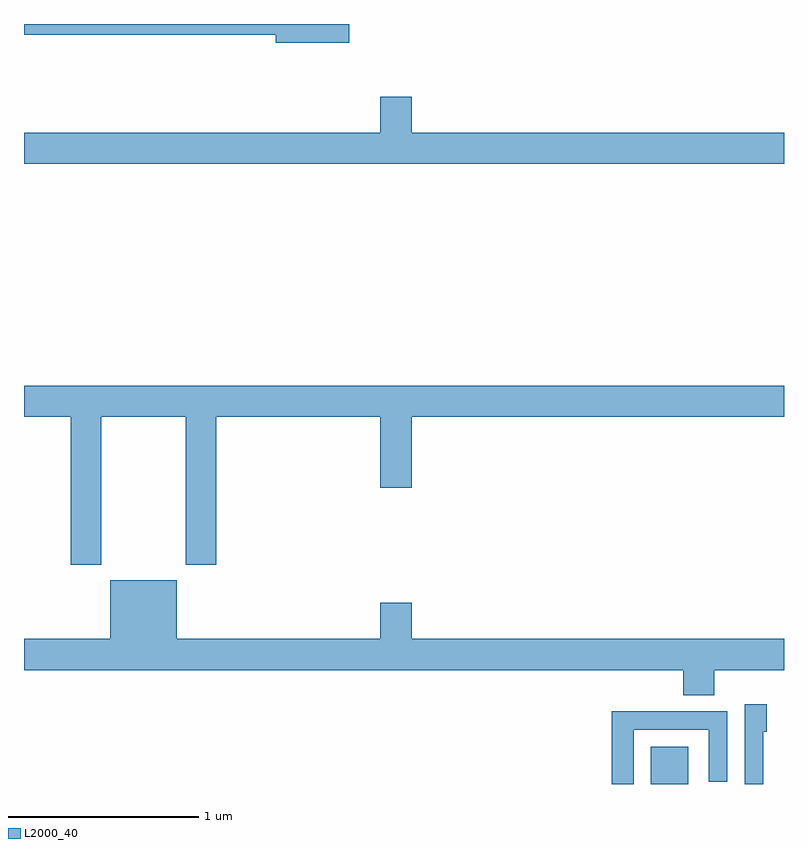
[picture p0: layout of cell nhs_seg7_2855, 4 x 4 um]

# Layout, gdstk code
import gdstk
lib = gdstk.Library(unit=1e-6, precision=1e-09)
def R(c, l, rs):  # rectangles x0, y0, x1, y1
    for r in rs: c.add(gdstk.rectangle(r[:2], r[2:], *l))
def P(c, l, *ps):  # polygons
    for p in ps: c.add(gdstk.Polygon(p, *l))
L2000_40 = (2000, 40)

nhs_seg7_2855 = lib.new_cell('nhs_seg7_2855')
R(nhs_seg7_2855, L2000_40, [(298.298,1016,298.495,1016.197)])
P(nhs_seg7_2855, L2000_40, [(296.713,1020),(295,1020),(295,1019.944),(296.324,1019.944),(296.324,1019.902),(296.713,1019.902)],
  [(299,1019.428),(297.04,1019.428),(297.04,1019.617),(296.876,1019.617),(296.876,1019.428),(295,1019.428),(295,1019.264),(299,1019.264)],
  [(295.407,1017.932),(295.852,1017.932),(295.852,1017.153),(296.012,1017.153),(296.012,1017.932),(296.876,1017.932),(296.876,1017.558),(297.04,1017.558),(297.04,1017.932),(299,1017.932),(299,1018.096),(295,1018.096),(295,1017.932),(295.247,1017.932),(295.247,1017.153),(295.407,1017.153)],
  [(298.634,1016.6),(299,1016.6),(299,1016.764),(297.04,1016.764),(297.04,1016.953),(296.876,1016.953),(296.876,1016.764),(295.804,1016.764),(295.804,1017.073),(295.454,1017.073),(295.454,1016.764),(295,1016.764),(295,1016.6),(298.469,1016.6),(298.469,1016.467),(298.634,1016.467)],
  [(298.89,1016.274),(298.909,1016.274),(298.909,1016.419),(298.794,1016.419),(298.794,1016),(298.89,1016)],
  [(298.209,1016.286),(298.605,1016.286),(298.605,1016.013),(298.701,1016.013),(298.701,1016.382),(298.385,1016.382),(298.385,1016.384),(298.093,1016.384),(298.093,1016),(298.209,1016)])

lib.write_gds('nhs_seg7_2855.gds')
